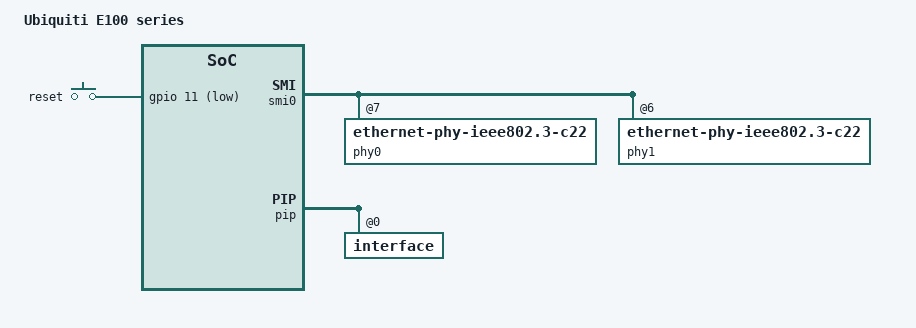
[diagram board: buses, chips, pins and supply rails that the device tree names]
// SPDX-License-Identifier: GPL-2.0-only
/*
 * Device tree source for Ubiquiti E100-based devices.
 *
 * Based on EdgeRouter Lite devicetree by: Aaro Koskinen <aaro.koskinen@iki.fi>
 */

/include/ "octeon_3xxx.dtsi"
#include <dt-bindings/gpio/gpio.h>
#include <dt-bindings/input/input.h>

/ {
	compatible = "ubnt,e100";
	model = "Ubiquiti E100 series";

	keys {
		compatible = "gpio-keys-polled";
		poll-interval = <20>;

		key-restart {
			label = "reset";
			linux,code = <KEY_RESTART>;
			gpios = <&gpio 11 GPIO_ACTIVE_LOW>;
			debounce-interval = <60>;
		};
	};
};

&flash0 {
	compatible = "Macronix,mx29lv320e", "cfi-flash";
	reg = <0 0 0x400000>;
	#address-cells = <1>;
	#size-cells = <1>;

	partitions {
		compatible = "fixed-partitions";
		#address-cells = <1>;
		#size-cells = <1>;

		partition@0 {
			label = "boot0";
			read-only;
			reg = <0x00000 0x80000>;
		};

		partition@80000 {
			label = "boot1";
			read-only;
			reg = <0x80000 0x80000>;
		};

		partition@100000 {
			label = "eeprom";
			read-only;
			reg = <0x100000 0x10000>;

			nvmem-layout {
				compatible = "fixed-layout";
				#address-cells = <1>;
				#size-cells = <1>;

				macaddr_eeprom_0: mac-address@0 {
					compatible = "mac-base";
					reg = <0x0 0x6>;
					#nvmem-cell-cells = <1>;
				};
			};
		};

		partition@3fe000 {
			compatible = "u-boot,env";
			label = "u-boot_env";
			reg = <0x3fe000 0x2000>;
		};
	};
};

&smi0 {
	phy0: ethernet-phy@7 {
		reg = <7>;
		compatible = "ethernet-phy-ieee802.3-c22";
	};

	phy1: ethernet-phy@6 {
		reg = <6>;
		compatible = "ethernet-phy-ieee802.3-c22";
	};

	/* The rest of the PHY are different depending on the sub-model */
};

&pip {
	interface@0 {
		eth0: ethernet@0 {
			phy-handle = <&phy0>;
			rx-delay = <0>;
			tx-delay = <0x10>;

			nvmem-cells = <&macaddr_eeprom_0 0>;
			nvmem-cell-names = "mac-address";
		};

		eth1: ethernet@1 {
			phy-handle = <&phy1>;
			rx-delay = <0>;
			tx-delay = <0x10>;

			nvmem-cells = <&macaddr_eeprom_0 1>;
			nvmem-cell-names = "mac-address";
		};

		/* The rest of the ports are different depending on the sub-model */
	};
};

&uart0 {
	clock-frequency = <500000000>;
};

&usbn {
	refclk-frequency = <12000000>;
	refclk-type = "crystal";
};
